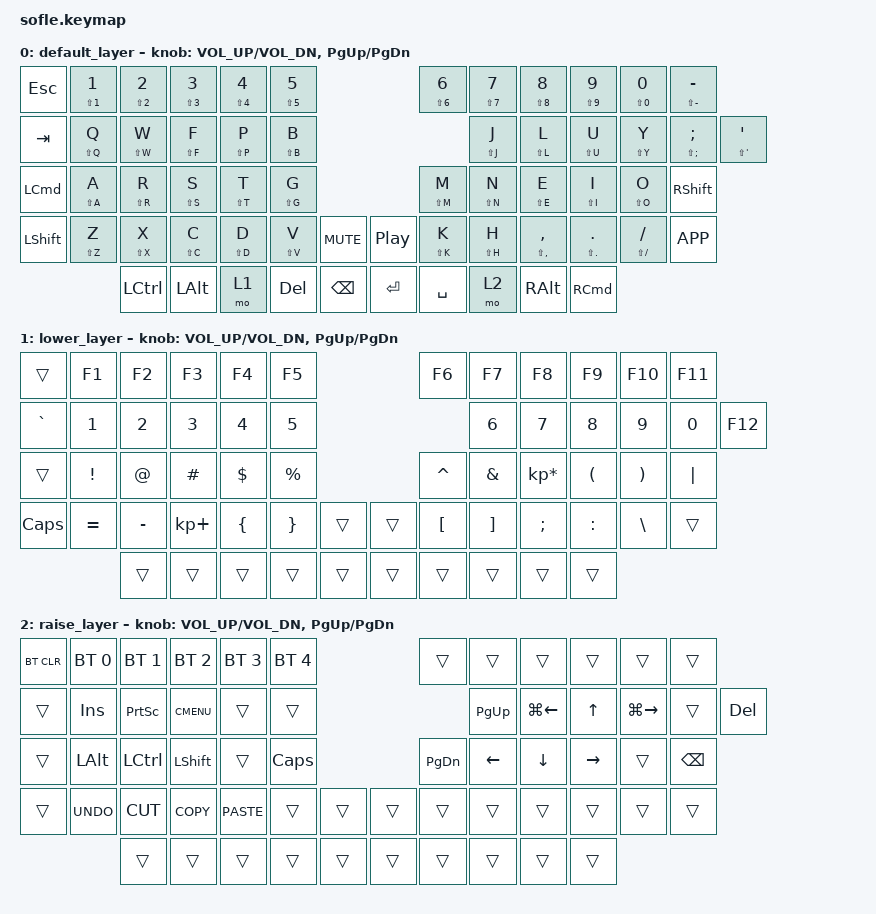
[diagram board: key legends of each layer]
/*
 * Copyright (c) 2020 The ZMK Contributors
 *
 * SPDX-License-Identifier: MIT
 */

#include <behaviors.dtsi>
#include <dt-bindings/zmk/keys.h>
#include <dt-bindings/zmk/bt.h>

/ {
    behaviors {
        hm: homerow_mods {
            compatible = "zmk,behavior-hold-tap";
            label = "HOMEROW_MODS";
            #binding-cells = <2>;
            tapping-term-ms = <180>;
            quick-tap-ms = <0>;
            flavor = "tap-preferred";
            bindings = <&kp>, <&kp>;
        };
    };
                
    keymap {
        compatible = "zmk,keymap";

        default_layer {
// ------------------------------------------------------------------------------------------------------------
// |  ESC    |  1  |  2  |  3   |  4   |  5   |                   |  6   |  7    |  8    |  9   |   0   |  -  |
// |  TAB  |  Q  |  W  |  F   |  P   |  B   |                   |  J   |  L    |  U    |  Y  |   ;   | ' |
// |  CMD  |  A  |  R  |  S   |  T   |  G   |                   |  M   |  N    |  E    |  I   |   O   |   SHIFT   |
// | SHIFT |  Z  |  X  |  C   |  D   |  V   |  MUTE  |   | PLAY |  K   |  H    |  ,    |  .   |   /   | APP |
//               | CTRL| ALT  | LOWER | DEL |  BACKSPACE |  | RETURN | SPACE | RAISE  | ALT   | CMD  |
            bindings = <
&kp ESC &hm LS(N1) N1 &hm LS(N2) N2   &hm LS(N3) N3   &hm LS(N4) N4    &hm LS(N5) N5                      &hm LS(N6) N6 &hm LS(N7) N7    &hm LS(N8) N8    &hm LS(N9) N9   &hm LS(N0) N0   &hm LS(MINUS) MINUS
&kp TAB   &hm LS(Q) Q  &hm LS(W) W    &hm LS(F) F    &hm LS(P) P     &hm LS(B) B                       &hm LS(J) J  &hm LS(L) L     &hm LS(U) U     &hm LS(Y) Y    &hm LS(SEMI) SEMI    &hm LS(SQT) SQT
&kp LCMD   &hm LS(A) A  &hm LS(R) R    &hm LS(S) S    &hm LS(T) T     &hm LS(G) G                       &hm LS(M) M  &hm LS(N) N     &hm LS(E) E     &hm LS(I) I    &hm LS(O) O &kp RSHFT
&kp LSHFT &hm LS(Z) Z  &hm LS(X) X    &hm LS(C) C    &hm LS(D) D     &hm LS(V) V  &kp C_MUTE &kp C_PP     &hm LS(K) K  &hm LS(H) H     &hm LS(COMMA) COMMA &hm LS(DOT) DOT  &hm LS(SLASH) SLASH &kp K_APP
                 &kp LCTRL &kp LALT &mo 1 &kp DEL &kp BSPC    &kp RET &kp SPACE &mo 2  &kp RALT  &kp RCMD
            >;

            sensor-bindings = <&inc_dec_kp C_VOL_UP C_VOL_DN &inc_dec_kp PG_UP PG_DN>;
        };

        lower_layer {
// TODO: Some binds are waiting for shifted keycode support.
// ------------------------------------------------------------------------------------------------------------
// |       |  F1 |  F2 |  F3  |  F4  |  F5  |                   |  F6  |  F7   |  F8   |  F9  |  F10  |  F11  |
// | `     |   1 |   2 |   3  |   4  |   5  |                   |   6  |   7   |   8   |   9  |    0  |  F12  |
// |       |  !  |  @  |  #   |  $   |  %   |                   |  ^   |  &    |  *    |  (   |   )   |   |   |
// |  CAPS |  =  |  -  |  +   |  {   |  }   |        |  |       |  [   |  ]    |  ;    |  :   |   \   |       |
//               |     |      |      |      |        |  |       |      |       |       |      |
            bindings = <
&trans    &kp F1    &kp F2    &kp F3      &kp F4    &kp F5                    &kp F6    &kp F7   &kp F8          &kp F9    &kp F10   &kp F11
&kp GRAVE &kp N1    &kp N2    &kp N3      &kp N4    &kp N5                    &kp N6    &kp N7   &kp N8          &kp N9    &kp N0    &kp F12
&trans    &kp EXCL  &kp AT    &kp HASH    &kp DLLR  &kp PRCNT                 &kp CARET &kp AMPS &kp KP_MULTIPLY &kp LPAR  &kp RPAR  &kp PIPE
&kp CAPS    &kp EQUAL &kp MINUS &kp KP_PLUS &kp LBRC  &kp RBRC  &trans   &trans &kp LBKT  &kp RBKT &kp SEMI        &kp COLON &kp BSLH  &trans
                    &trans    &trans      &trans    &trans    &trans   &trans &trans    &trans   &trans          &trans
            >;

            sensor-bindings = <&inc_dec_kp C_VOL_UP C_VOL_DN &inc_dec_kp PG_UP PG_DN>;
        };

        raise_layer {
// ------------------------------------------------------------------------------------------------------------
// |BTCLR| BT1  | BT2  |  BT3  |  BT4  |  BT5 |                |      |      |       |      |       |       |
// |     | INS  | PSCR | GUI   |       |      |                | PGUP | HOME |   ^   |  END |       |  DEL  |
// |     | ALT  | CTRL | SHIFT |       | CAPS |                | PGDN |  <-  |   v   |  ->  |       | BKSPC |
// |     | UNDO | CUT  | COPY  | PASTE |      |      |  |      |      |      |       |      |       |       |
//              |      |       |       |      |      |  |      |      |      |       |      |
            bindings = <
&bt BT_CLR &bt BT_SEL 0 &bt BT_SEL 1 &bt BT_SEL 2 &bt BT_SEL 3 &bt BT_SEL 4             &trans    &trans    &trans   &trans    &trans  &trans
&trans     &kp INS      &kp PSCRN    &kp K_CMENU  &trans       &trans                   &kp PG_UP &kp LG(LEFT)    &kp UP   &kp LG(RIGHT)   &trans     &kp DEL
&trans     &kp LALT     &kp LCTRL    &kp LSHFT    &trans       &kp CLCK                 &kp PG_DN &kp LEFT &kp DOWN &kp RIGHT &trans    &kp BSPC
&trans     &kp K_UNDO   &kp K_CUT    &kp K_COPY   &kp K_PASTE  &trans  &trans   &trans  &trans    &trans    &trans   &trans    &trans  &trans
                        &trans       &trans       &trans       &trans  &trans   &trans  &trans    &trans    &trans   &trans
            >;

            sensor-bindings = <&inc_dec_kp C_VOL_UP C_VOL_DN &inc_dec_kp PG_UP PG_DN>;
        };
    };
};
